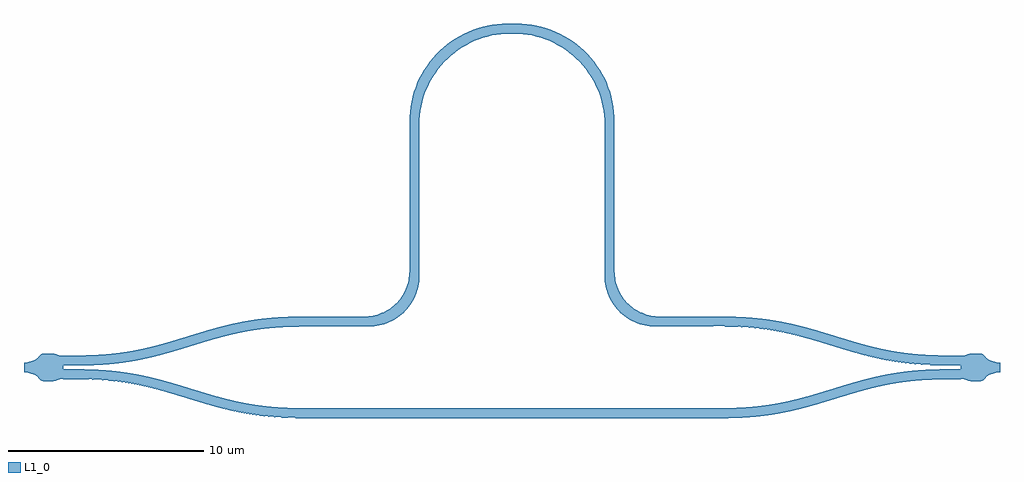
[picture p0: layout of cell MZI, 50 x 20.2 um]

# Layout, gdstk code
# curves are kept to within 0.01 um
from math import pi, radians
import gdstk
lib = gdstk.Library(unit=1e-6, precision=1e-09)
def R(c, l, rs):  # rectangles x0, y0, x1, y1
    for r in rs: c.add(gdstk.rectangle(r[:2], r[2:], *l))
def P(c, l, *ps):  # polygons
    for p in ps: c.add(gdstk.Polygon(p, *l))
L1_0 = (1, 0)

ytaper = lib.new_cell('yTaper')
P(ytaper, L1_0, [(0,0.25),(0.09,0.239),(0.18,0.253),(0.562,0.376),(0.652,0.436),(0.831,0.628),(0.899,0.673),(0.966,0.695),(1.483,0.702),(1.843,0.598),(1.933,0.589),(2,0.6),(2,-0.6),(1.933,-0.589),(1.843,-0.598),(1.483,-0.702),(1.034,-0.703),(0.899,-0.673),(0.809,-0.607),(0.652,-0.436),(0.562,-0.376),(0.18,-0.253),(0.09,-0.239),(0,-0.25)])

sbend_length_13_height_2 = lib.new_cell('sBend_Length=13_Height=2')
P(sbend_length_13_height_2, L1_0, [(0,-0.25),(1.282,-0.238),(1.268,0.262),(0,0.25)],
  [(1.282,-0.238),(1.941,-0.209),(2.576,-0.157),(2.525,0.341),(1.91,0.29),(1.268,0.262)],
  [(2.576,-0.157),(3.146,-0.087),(3.874,0.037),(3.778,0.528),(3.164,0.421),(2.525,0.341)],
  [(3.874,0.037),(4.522,0.178),(5.167,0.344),(5.035,0.827),(4.47,0.68),(3.778,0.528)],
  [(5.167,0.344),(6.45,0.723),(6.303,1.201),(5.035,0.827)],
  [(6.45,0.723),(7.72,1.105),(7.583,1.586),(6.303,1.201)],
  [(7.72,1.105),(8.376,1.282),(8.979,1.422),(8.875,1.911),(8.346,1.79),(7.583,1.586)],
  [(8.979,1.422),(9.58,1.538),(10.232,1.632),(10.172,2.129),(9.497,2.031),(8.875,1.911)],
  [(10.232,1.632),(10.82,1.691),(11.487,1.73),(11.468,2.229),(10.702,2.183),(10.172,2.129)],
  [(11.487,1.73),(12.753,1.75),(12.752,2.25),(11.468,2.229)],
  [(12.753,1.75),(13,1.75),(13,2.25),(12.752,2.25)])

ybranch = lib.new_cell('Ybranch')
ybranch.add(gdstk.Reference(ytaper, (0,0)))
ybranch.add(gdstk.Reference(sbend_length_13_height_2, (2,0.35)))
ybranch.add(gdstk.Reference(sbend_length_13_height_2, (2,-0.35), x_reflection=True))

referencebranch = lib.new_cell('referenceBranch')
R(referencebranch, L1_0, [(-10,-0.25,10,0.25)])

deltabranch = lib.new_cell('deltaBranch')
P(deltabranch, L1_0, [(2.808,-0.247),(3.195,-0.197),(3.571,-0.09),(3.926,0.073),(4.252,0.288),(4.542,0.55),(4.712,0.748),(4.861,0.962),(5.042,1.308),(5.168,1.678),(5.237,2.062),(5.25,2.323),(5.256,10.331),(5.304,10.8),(5.399,11.262),(5.54,11.712),(5.726,12.145),(5.835,12.354),(6.084,12.754),(6.373,13.127),(6.698,13.469),(6.873,13.627),(7.246,13.916),(7.646,14.165),(7.855,14.274),(8.069,14.373),(8.511,14.537),(8.968,14.655),(9.2,14.696),(9.669,14.744),(10.134,14.749),(10.134,15.25),(9.497,15.244),(9.244,15.224),(8.744,15.148),(8.253,15.021),(8.013,14.939),(7.778,14.845),(7.323,14.622),(6.894,14.354),(6.689,14.204),(6.493,14.044),(6.126,13.695),(5.796,13.311),(5.646,13.106),(5.378,12.677),(5.261,12.452),(5.061,11.987),(4.91,11.503),(4.808,11.007),(4.756,10.503),(4.75,2.578),(4.738,2.342),(4.702,2.109),(4.643,1.881),(4.561,1.66),(4.458,1.448),(4.333,1.248),(4.189,1.061),(3.939,0.811),(3.752,0.667),(3.552,0.542),(3.34,0.439),(3.119,0.357),(2.775,0.277),(2.54,0.253),(0,0.25),(0,-0.25)],
  [(20,0.25),(17.578,0.25),(17.342,0.262),(16.994,0.324),(16.769,0.395),(16.552,0.488),(16.248,0.667),(16.061,0.811),(15.891,0.974),(15.737,1.153),(15.602,1.346),(15.488,1.552),(15.357,1.881),(15.277,2.225),(15.253,2.46),(15.244,10.503),(15.224,10.756),(15.148,11.256),(15.021,11.747),(14.939,11.987),(14.845,12.222),(14.622,12.677),(14.354,13.106),(14.204,13.311),(14.044,13.507),(13.695,13.874),(13.311,14.204),(13.106,14.354),(12.677,14.622),(12.452,14.739),(12.222,14.845),(11.747,15.021),(11.256,15.148),(11.007,15.192),(10.503,15.244),(10.134,15.25),(10.134,14.749),(10.566,14.726),(11.032,14.655),(11.489,14.537),(11.712,14.46),(11.931,14.373),(12.354,14.165),(12.754,13.916),(13.127,13.627),(13.469,13.302),(13.627,13.127),(13.916,12.754),(14.165,12.354),(14.373,11.931),(14.46,11.712),(14.537,11.489),(14.655,11.032),(14.726,10.566),(14.744,10.331),(14.753,2.192),(14.78,1.933),(14.868,1.552),(14.958,1.308),(15.139,0.962),(15.288,0.748),(15.458,0.55),(15.748,0.288),(15.962,0.139),(16.19,0.013),(16.429,-0.09),(16.678,-0.168),(16.933,-0.22),(17.322,-0.25),(20,-0.25)])

mzi = lib.new_cell('MZI')
mzi.add(gdstk.Reference(ybranch, (-25,0)))
mzi.add(gdstk.Reference(ybranch, (25,0), rotation=pi))
mzi.add(gdstk.Reference(referencebranch, (0,-2.35)))
mzi.add(gdstk.Reference(deltabranch, (-10,2.35)))

lib.write_gds('MZI.gds')
